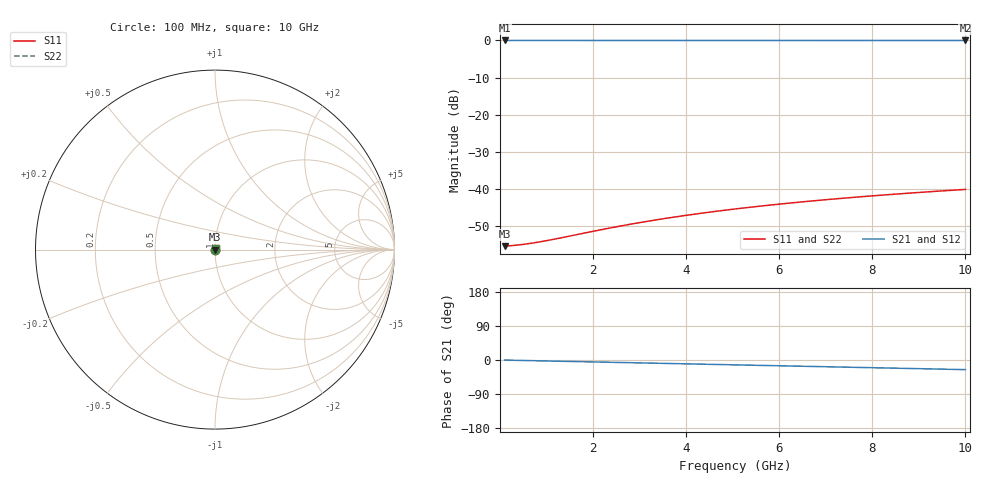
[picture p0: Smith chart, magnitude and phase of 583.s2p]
# Hz S RI R 50.00
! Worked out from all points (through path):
!   100 points, 100 MHz to 10 GHz, reference 50 ohm
!   highest |S21| = -0.01 dB at 100 MHz (marker M1); lowest = 0.0 dB at 10 GHz (marker M2)
!   group delay of S21, straight-line fit = 7.07 ps
!   lowest |S11| = -55.3 dB at 100 MHz (marker M3), VSWR 1.00, Z = 50.2 + j0.00965 ohm
!   |S11| at or under -10 dB: start of sweep to end of sweep
!   |S22| runs from -55.3 to -40.1 dB; largest |S21 - S12| = 0
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1e8  0.00171 9.62e-05  0.9983 -0.00441  0.9983 -0.00441  0.00171 9.62e-05
3e8  0.00172 0.000288  0.9982 -0.0132  0.9982 -0.0132  0.00172 0.000288
4e8  0.00173 0.000384  0.9981 -0.0177  0.9981 -0.0177  0.00173 0.000384
6e8  0.00175 0.000576  0.9979 -0.0265  0.9979 -0.0265  0.00175 0.000576
8e8  0.00177 0.000767  0.9976 -0.0353  0.9976 -0.0353  0.00177 0.000767
1e9  0.00179 0.000957  0.9972 -0.0441  0.9972 -0.0441  0.00179 0.000957
1.2e9  0.00181 0.00115  0.9968 -0.053  0.9968 -0.053  0.00181 0.00115
1.8e9  0.00189 0.00171  0.995 -0.0794  0.995 -0.0794  0.00189 0.00171
2.2e9  0.00196 0.00209  0.9934 -0.097  0.9934 -0.097  0.00196 0.00209
2.6e9  0.00205 0.00245  0.9915 -0.1146  0.9915 -0.1146  0.00205 0.00245
3e9  0.00214 0.00282  0.9893 -0.1321  0.9893 -0.1321  0.00214 0.00282
3.4e9  0.00225 0.00318  0.9868 -0.1496  0.9868 -0.1496  0.00225 0.00318
3.8e9  0.00238 0.00353  0.984 -0.1671  0.984 -0.1671  0.00238 0.00353
4.2e9  0.00251 0.00388  0.9809 -0.1845  0.9809 -0.1845  0.00251 0.00388
4.6e9  0.00266 0.00422  0.9774 -0.2019  0.9774 -0.2019  0.00266 0.00422
5.1e9  0.00286 0.00464  0.9727 -0.2235  0.9727 -0.2235  0.00286 0.00464
5.9e9  0.00322 0.00528  0.9641 -0.2579  0.9641 -0.2579  0.00322 0.00528
6.7e9  0.00362 0.0059  0.9543 -0.292  0.9543 -0.292  0.00362 0.0059
7.5e9  0.00407 0.00648  0.9432 -0.3258  0.9432 -0.3258  0.00407 0.00648
8.4e9  0.00463 0.0071  0.9294 -0.3633  0.9294 -0.3633  0.00463 0.0071
9.2e9  0.00516 0.00761  0.9158 -0.3962  0.9158 -0.3962  0.00516 0.00761
1e10  0.00573 0.00808  0.901 -0.4286  0.901 -0.4286  0.00573 0.00808
